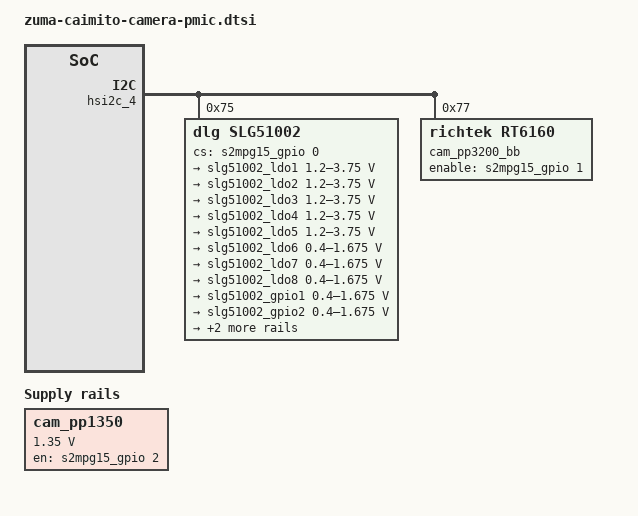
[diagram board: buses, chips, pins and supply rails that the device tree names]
// SPDX-License-Identifier: GPL-2.0-only
/*
 * zuma camera PMIC device tree for caimito
 *
 * Copyright 2023 Google LLC.
 *
 */

#include <arm64/exynos/exynos-pinctrl.h>

/ {
	fragment@camera_supply {
		target-path = "/";
		__overlay__ {
			cam_pp1350: cam_supply@0 {
				compatible = "regulator-fixed";
				status = "okay";
				regulator-name = "PP1350_CAM";
				regulator-min-microvolt = <1350000>;
				regulator-max-microvolt = <1350000>;
				/* 2ms */
				regulator-enable-ramp-delay = <2000>;
				enable-active-high;
				/* CAM_MVBUCK_EN */
				gpio = <&s2mpg15_gpio 2 GPIO_ACTIVE_HIGH>;
			};
		};
	};
};

&hsi2c_4 {
	status = "okay";
	#address-cells = <1>;
	#size-cells = <0>;
	/* SLG51002 */
	slg51002: slg51002@75 {
		compatible = "dlg,slg51002";
		reg = <0x75>;
		status = "ok";
		/* CAM_PMIC_EN */
		dlg,cs-gpios = <&s2mpg15_gpio 0 GPIO_ACTIVE_HIGH>;
		dlg,reg-init-cells = <2>;

		regulators {
			slg51002_ldo1: ldo1 {
				regulator-name = "ldo1";
				regulator-min-microvolt = <1200000>;
				regulator-max-microvolt = <3750000>;
				vin1_2-supply = <&cam_pp3200_bb>;
			};

			slg51002_ldo2: ldo2 {
				regulator-name = "ldo2";
				regulator-min-microvolt = <1200000>;
				regulator-max-microvolt = <3750000>;
				vin1_2-supply = <&cam_pp3200_bb>;
			};

			slg51002_ldo3: ldo3 {
				regulator-name = "ldo3";
				regulator-min-microvolt = <1200000>;
				regulator-max-microvolt = <3750000>;
				vin3-supply = <&cam_pp3200_bb>;
			};

			slg51002_ldo4: ldo4 {
				regulator-name = "ldo4";
				regulator-min-microvolt = <1200000>;
				regulator-max-microvolt = <3750000>;
				vin4-supply = <&cam_pp3200_bb>;
			};

			slg51002_ldo5: ldo5 {
				regulator-name = "ldo5";
				regulator-min-microvolt = <1200000>;
				regulator-max-microvolt = <3750000>;
				vin5-supply = <&cam_pp3200_bb>;
			};

			slg51002_ldo6: ldo6 {
				regulator-name = "ldo6";
				regulator-min-microvolt = <400000>;
				regulator-max-microvolt = <1675000>;
				vin6-supply = <&cam_pp1350>;
			};

			slg51002_ldo7: ldo7 {
				regulator-name = "ldo7";
				regulator-min-microvolt = <400000>;
				regulator-max-microvolt = <1675000>;
				vin7-supply = <&cam_pp1350>;
			};

			slg51002_ldo8: ldo8 {
				regulator-name = "ldo8";
				regulator-min-microvolt = <400000>;
				regulator-max-microvolt = <1675000>;
			};

			slg51002_gpio1: gpio1 {
				regulator-name = "gpio1";
				regulator-min-microvolt = <400000>;
				regulator-max-microvolt = <1675000>;
			};

			slg51002_gpio2: gpio2 {
				regulator-name = "gpio2";
				regulator-min-microvolt = <400000>;
				regulator-max-microvolt = <1675000>;
			};

			slg51002_gpio3: gpio3 {
				regulator-name = "gpio3";
				regulator-min-microvolt = <400000>;
				regulator-max-microvolt = <1675000>;
			};

			slg51002_gpio4: gpio4 {
				regulator-name = "gpio4";
				regulator-min-microvolt = <400000>;
				regulator-max-microvolt = <1675000>;
			};
		};

		slg51002_gpio: slg51002_gpio {
			gpio-controller;
			#gpio-cells = <2>;
			ngpios = <8>;
			gpio-ranges = <&slg51002_pinctrl 0 0 8>;
		};

		slg51002_pinctrl: slg51002_pinctrl {
		};
	};

	/* RT6160 */
	cam_pp3200_bb: cam_supply@77 {
		compatible = "richtek,rt6160";
		reg = <0x77>;
		/* CAM_BB_EN */
		enable-gpios = <&s2mpg15_gpio 1 GPIO_ACTIVE_HIGH>;
		status = "ok";
		regulator-name = "PP3200_CAM_BB";
		regulator-min-microvolt = <3200000>;
		regulator-max-microvolt = <3200000>;
		/* 2ms */
		regulator-enable-ramp-delay = <2000>;
		/* FPWM mode (REGULATOR_MODE_FAST) */
		regulator-initial-mode = <0x1>;
	};
};
